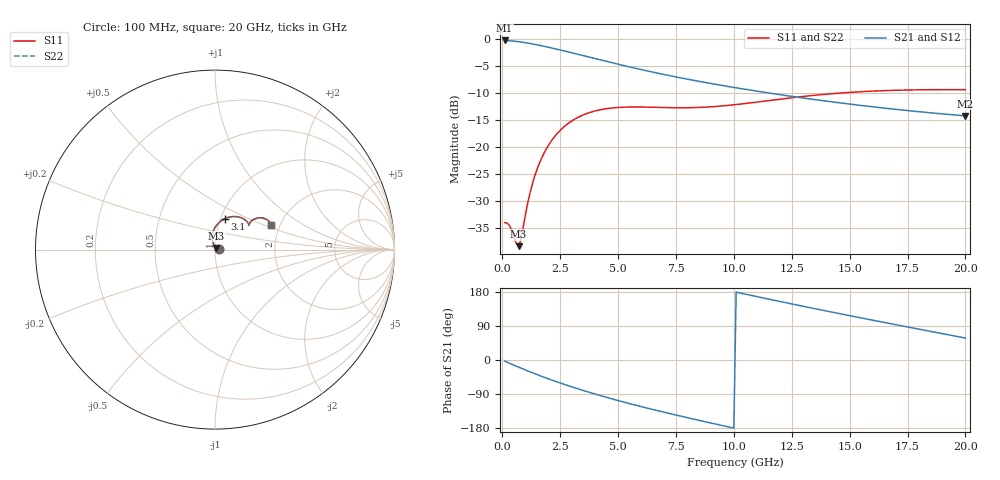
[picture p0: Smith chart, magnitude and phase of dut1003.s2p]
! Touchstone file exported from HFSS 2024.1.0
!  File:  C:/UserFiles/LocalFiles/RDL_TSV_Batchsim/temp_RDL_TSV_1003_1780076712.aedt
!  Generated:  02:04:27 AM May 30, 2026
!  Design:  RDL_TSV
!  Project:  temp_RDL_TSV_1003_1780076712
!  Setup:  Setup1
!  Solution:  Sweep
! Variables:
!  dtsv = 13.61um
!  hbump = 3um
!  htsv = 87.77um
!  ldown = 549um
!  lrdl = 675.18um
!  p = 40
!  p1 = 55.86um
!  rhole = 10um
!  subl = 4347.72um
!  t = 450um
!  tdown = 3.96um
!  trdl = 3.51um
!  viad = 10um
!  wdown = 16.15um
!  wrdl = 25.24um
!  xbump = 18um
# GHz S MA R 50.000000
! Terminal data exported
! Port[1] = TM1_1_T1
! Port[2] = TM1_4_T1
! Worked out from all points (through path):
!   200 points, 100 MHz to 20 GHz, reference 50 ohm
!   highest |S21| = -0.18 dB at 100 MHz (marker M1); lowest = -14.2 dB at 20 GHz (marker M2)
!   group delay of S21, straight-line fit = 39.5 ps
!   lowest |S11| = -38.3 dB at 700 MHz (marker M3), VSWR 1.02, Z = 50.7 + j0.991 ohm
!   |S11| at or under -10 dB: start of sweep to 14.38 GHz
!   |S22| runs from -38.3 to -9.3 dB; largest |S21 - S12| = 1.1e-14
!   S11 on the Smith chart (normalised r, x): 100 MHz: 1.04, +0.00; 3.1 GHz: 1.05, +0.37; 20 GHz: 1.80, +0.57
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0.1  0.02007 3.8  0.9791 -2.8  0.9791 -2.8  0.02007 3.8
! Gamma 0 0 0 0
! Port Impedance 50 0 50 0
0.3  0.01903 8.7  0.9734 -8.2  0.9734 -8.2  0.01904 8.7
0.6  0.01293 32.5  0.9597 -16.2  0.9597 -16.2  0.01294 32.5
0.7  0.01215 53.6  0.9539 -18.8  0.9539 -18.8  0.01215 53.5
0.8  0.01388 76.1  0.9475 -21.3  0.9475 -21.3  0.01388 76.0
1.1  0.03064 104.3  0.9257 -28.9  0.9257 -28.9  0.03061 104.2
1.3  0.04598 106.1  0.9093 -33.7  0.9093 -33.7  0.04594 106.1
1.7  0.07965 100.8  0.874 -43.1  0.874 -43.1  0.07957 100.7
2.3  0.129 88.2  0.8183 -56.4  0.8183 -56.4  0.1289 88.1
3.1  0.1813 72.2  0.7442 -72.8  0.7442 -72.8  0.1812 72.2
3.5  0.2002 65.3  0.7086 -80.6  0.7086 -80.6  0.2001 65.3
4.3  0.2246 53.9  0.6421 -95.1  0.6421 -95.1  0.2244 53.9
5.1  0.2349 45.6  0.5831 -108.7  0.5831 -108.7  0.2348 45.5
5.9  0.2367 40.0  0.5319 -121.5  0.5319 -121.5  0.2366 39.9
6.8  0.2345 36.7  0.4826 -135.1  0.4826 -135.1  0.2343 36.6
8.3  0.2337 36.0  0.4165 -156.6  0.4165 -156.6  0.2334 35.8
10.1  0.2494 37.8  0.3564 179.0  0.3564 179.0  0.2489 37.7
11.7  0.2748 38.0  0.3146 158.1  0.3146 158.1  0.274 37.8
13.4  0.3027 35.8  0.279 136.6  0.279 136.6  0.3017 35.7
15  0.3234 32.7  0.2519 117.0  0.2519 117.0  0.3222 32.5
16.7  0.3368 29.1  0.2286 96.6  0.2286 96.6  0.3355 29.0
20  0.3427 23.9  0.1959 57.9  0.1959 57.9  0.3413 23.8
